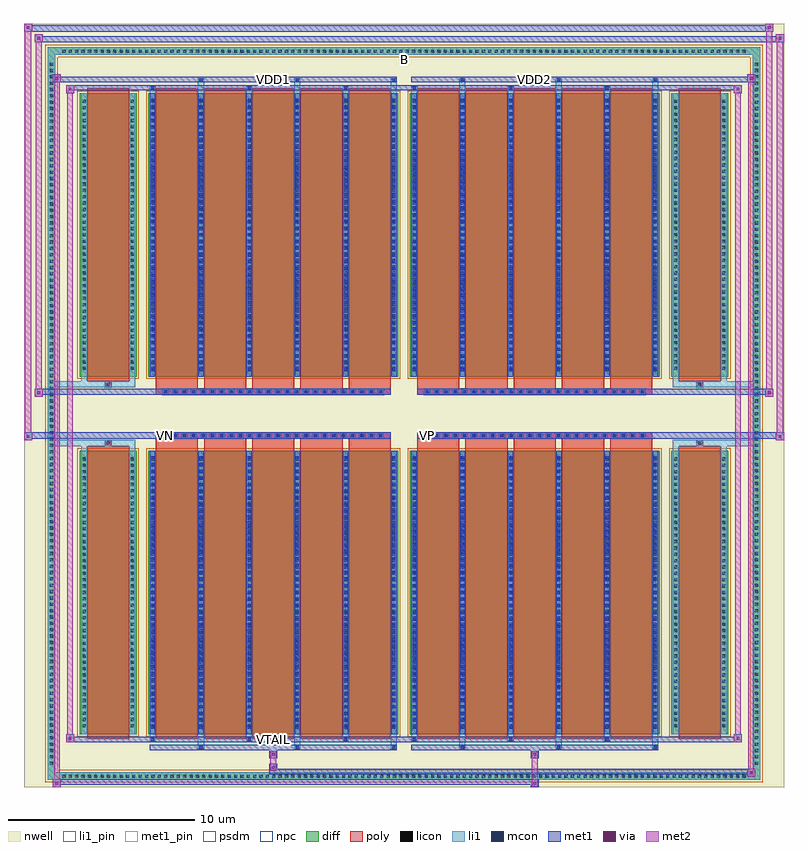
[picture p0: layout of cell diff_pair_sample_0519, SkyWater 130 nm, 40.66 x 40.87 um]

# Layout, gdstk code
import gdstk
lib = gdstk.Library(unit=1e-6, precision=5e-09)
def R(c, l, rs):  # rectangles x0, y0, x1, y1
    for r in rs: c.add(gdstk.rectangle(r[:2], r[2:], *l))
def A(c, l, x, y, w, h, nx, ny, dx, dy):  # array of equal rectangles
    R(c, l, [(x+i*dx, y+j*dy, x+i*dx+w, y+j*dy+h) for i in range(nx) for j in range(ny)])
def P(c, l, *ps):  # polygons
    for p in ps: c.add(gdstk.Polygon(p, *l))
nwell = (64, 20)
diff = (65, 20)
poly = (66, 20)
licon = (66, 44)
li1_pin = (67, 16)
li1 = (67, 20)
mcon = (67, 44)
met1_pin = (68, 16)
met1 = (68, 20)
via = (68, 44)
met2 = (69, 20)
psdm = (94, 20)
npc = (95, 20)

diff_pair_sample_0519 = lib.new_cell('diff_pair_sample_0519')
R(diff_pair_sample_0519, nwell, [(-20.33,-20,20.33,20.87), (-17.65,-18.19,-0.01,-0.805), (0.01,-18.19,17.65,-0.805), (-17.65,0.805,-0.01,18.19), (0.01,0.805,17.65,18.19)])
A(diff_pair_sample_0519, diff, -18.395, -19.6, 0.41, 0.41, 108, 2, 0.34, 38.79)
A(diff_pair_sample_0519, diff, -19.06, -18.905, 0.41, 0.41, 1, 111, 0, 0.34)
A(diff_pair_sample_0519, diff, 18.65, -18.905, 0.41, 0.41, 1, 111, 0, 0.34)
R(diff_pair_sample_0519, diff, [(-18.395,-19.6,18.395,-19.19), (-19.06,-18.905,-18.65,18.905), (18.65,-18.905,19.06,18.905), (-17.34,-17.145,-14.31,-1.985), (-13.67,-17.145,-0.32,-1.985), (0.32,-17.145,13.67,-1.985), (14.31,-17.145,17.34,-1.985), (-17.34,1.985,-14.31,17.145), (-13.67,1.985,-0.32,17.145), (0.32,1.985,13.67,17.145), (14.31,1.985,17.34,17.145), (-18.395,19.19,18.395,19.6)])
P(diff_pair_sample_0519, diff, [(19.06,19.6),(-19.06,19.6),(-19.06,-19.19),(-18.65,-19.19),(-18.65,19.19),(18.65,19.19),(18.65,-19.19),(-18.65,-19.19),(-19.06,-19.19),(-19.06,-19.6),(19.06,-19.6)])
A(diff_pair_sample_0519, poly, -13.28, -17.395, 2.25, 15.66, 5, 2, 2.58, 19.13)
A(diff_pair_sample_0519, poly, 0.71, -17.395, 2.25, 15.66, 5, 2, 2.58, 19.13)
A(diff_pair_sample_0519, poly, -13.28, -1.735, 2.25, 0.4, 5, 2, 2.58, 3.07)
A(diff_pair_sample_0519, poly, 0.71, -1.735, 2.25, 0.4, 5, 2, 2.58, 3.07)
A(diff_pair_sample_0519, poly, -12.91, -1.335, 0.33, 0.33, 24, 2, 0.5, 2.34)
A(diff_pair_sample_0519, poly, 1.08, -1.335, 0.33, 0.33, 24, 2, 0.5, 2.34)
R(diff_pair_sample_0519, poly, [(-16.95,-17.395,-14.7,-1.735), (14.7,-17.395,16.95,-1.735), (-15.99,-1.735,-15.66,-1.405), (-15.99,-1.735,-15.66,-1.405), (15.66,-1.735,15.99,-1.405), (15.66,-1.735,15.99,-1.405), (-13.28,-1.335,-0.71,-1.005), (0.71,-1.335,13.28,-1.005), (-13.28,1.005,-0.71,1.335), (0.71,1.005,13.28,1.335), (-15.99,1.405,-15.66,1.735), (-15.99,1.405,-15.66,1.735), (15.66,1.405,15.99,1.735), (15.66,1.405,15.99,1.735), (-16.95,1.735,-14.7,17.395), (14.7,1.735,16.95,17.395)])
A(diff_pair_sample_0519, licon, -18.275, -19.48, 0.17, 0.17, 108, 2, 0.34, 38.79)
A(diff_pair_sample_0519, licon, -18.94, -18.785, 0.17, 0.17, 1, 111, 0, 0.34)
A(diff_pair_sample_0519, licon, 18.77, -18.785, 0.17, 0.17, 1, 111, 0, 0.34)
A(diff_pair_sample_0519, licon, -17.2, -16.79, 0.17, 0.17, 1, 43, 0, 0.34)
A(diff_pair_sample_0519, licon, -14.62, -16.79, 0.17, 0.17, 1, 43, 0, 0.34)
A(diff_pair_sample_0519, licon, -13.53, -16.79, 0.17, 0.17, 6, 43, 2.58, 0.34)
A(diff_pair_sample_0519, licon, 0.46, -16.79, 0.17, 0.17, 6, 43, 2.58, 0.34)
A(diff_pair_sample_0519, licon, 14.45, -16.79, 0.17, 0.17, 1, 43, 0, 0.34)
A(diff_pair_sample_0519, licon, 17.03, -16.79, 0.17, 0.17, 1, 43, 0, 0.34)
A(diff_pair_sample_0519, licon, -12.83, -1.255, 0.17, 0.17, 24, 2, 0.5, 2.34)
A(diff_pair_sample_0519, licon, 1.16, -1.255, 0.17, 0.17, 24, 2, 0.5, 2.34)
A(diff_pair_sample_0519, licon, -17.2, 2.34, 0.17, 0.17, 1, 43, 0, 0.34)
A(diff_pair_sample_0519, licon, -14.62, 2.34, 0.17, 0.17, 1, 43, 0, 0.34)
A(diff_pair_sample_0519, licon, -13.53, 2.34, 0.17, 0.17, 6, 43, 2.58, 0.34)
A(diff_pair_sample_0519, licon, 0.46, 2.34, 0.17, 0.17, 6, 43, 2.58, 0.34)
A(diff_pair_sample_0519, licon, 14.45, 2.34, 0.17, 0.17, 1, 43, 0, 0.34)
A(diff_pair_sample_0519, licon, 17.03, 2.34, 0.17, 0.17, 1, 43, 0, 0.34)
R(diff_pair_sample_0519, licon, [(-15.91,-1.655,-15.74,-1.485), (15.74,-1.655,15.91,-1.485), (-15.91,1.485,-15.74,1.655), (15.74,1.485,15.91,1.655)])
R(diff_pair_sample_0519, li1_pin, [(-0.25,18.69,0.25,19.19)])
A(diff_pair_sample_0519, li1, -18.355, -19.56, 0.33, 0.33, 108, 2, 0.34, 38.79)
A(diff_pair_sample_0519, li1, -19.02, -18.865, 0.33, 0.33, 1, 111, 0, 0.34)
A(diff_pair_sample_0519, li1, 18.69, -18.865, 0.33, 0.33, 1, 111, 0, 0.34)
A(diff_pair_sample_0519, li1, -11.03, -17.95, 0.33, 0.805, 3, 2, 5.16, 35.095)
A(diff_pair_sample_0519, li1, -10.95, -17.95, 0.17, 0.17, 3, 2, 5.16, 35.73)
A(diff_pair_sample_0519, li1, 2.96, -17.95, 0.33, 0.805, 3, 2, 5.16, 35.095)
A(diff_pair_sample_0519, li1, 3.04, -17.95, 0.17, 0.17, 3, 2, 5.16, 35.73)
A(diff_pair_sample_0519, li1, -13.61, -17.52, 0.33, 0.375, 3, 2, 5.16, 34.665)
A(diff_pair_sample_0519, li1, -13.53, -17.52, 0.17, 0.17, 3, 2, 5.16, 34.87)
A(diff_pair_sample_0519, li1, 0.38, -17.52, 0.33, 0.375, 3, 2, 5.16, 34.665)
A(diff_pair_sample_0519, li1, 0.46, -17.52, 0.17, 0.17, 3, 2, 5.16, 34.87)
A(diff_pair_sample_0519, li1, -13.61, -17.145, 0.33, 15.16, 6, 2, 2.58, 19.13)
A(diff_pair_sample_0519, li1, 0.38, -17.145, 0.33, 15.16, 6, 2, 2.58, 19.13)
A(diff_pair_sample_0519, li1, -17.28, -16.87, 0.33, 0.33, 1, 43, 0, 0.34)
A(diff_pair_sample_0519, li1, -14.7, -16.87, 0.33, 0.33, 1, 43, 0, 0.34)
A(diff_pair_sample_0519, li1, -13.61, -16.87, 0.33, 0.33, 6, 43, 2.58, 0.34)
A(diff_pair_sample_0519, li1, 0.38, -16.87, 0.33, 0.33, 6, 43, 2.58, 0.34)
A(diff_pair_sample_0519, li1, 14.37, -16.87, 0.33, 0.33, 1, 43, 0, 0.34)
A(diff_pair_sample_0519, li1, 16.95, -16.87, 0.33, 0.33, 1, 43, 0, 0.34)
A(diff_pair_sample_0519, li1, -13.53, -16.85, 0.17, 0.17, 6, 41, 2.58, 0.36)
A(diff_pair_sample_0519, li1, -13.53, -16.85, 0.17, 14.57, 6, 2, 2.58, 19.13)
A(diff_pair_sample_0519, li1, 0.46, -16.85, 0.17, 0.17, 6, 41, 2.58, 0.36)
A(diff_pair_sample_0519, li1, 0.46, -16.85, 0.17, 14.57, 6, 2, 2.58, 19.13)
A(diff_pair_sample_0519, li1, -12.91, -1.335, 0.33, 0.33, 24, 2, 0.5, 2.34)
A(diff_pair_sample_0519, li1, 1.08, -1.335, 0.33, 0.33, 24, 2, 0.5, 2.34)
A(diff_pair_sample_0519, li1, -17.28, 2.26, 0.33, 0.33, 1, 43, 0, 0.34)
A(diff_pair_sample_0519, li1, -14.7, 2.26, 0.33, 0.33, 1, 43, 0, 0.34)
A(diff_pair_sample_0519, li1, -13.61, 2.26, 0.33, 0.33, 6, 43, 2.58, 0.34)
A(diff_pair_sample_0519, li1, 0.38, 2.26, 0.33, 0.33, 6, 43, 2.58, 0.34)
A(diff_pair_sample_0519, li1, 14.37, 2.26, 0.33, 0.33, 1, 43, 0, 0.34)
A(diff_pair_sample_0519, li1, 16.95, 2.26, 0.33, 0.33, 1, 43, 0, 0.34)
A(diff_pair_sample_0519, li1, -13.53, 2.28, 0.17, 0.17, 6, 41, 2.58, 0.36)
A(diff_pair_sample_0519, li1, 0.46, 2.28, 0.17, 0.17, 6, 41, 2.58, 0.36)
R(diff_pair_sample_0519, li1, [(-19.06,-19.6,-18.65,-19.19), (-19.06,-19.6,-18.65,-19.19), (-18.65,-19.6,18.65,-19.19), (18.65,-19.6,19.06,-19.19), (18.65,-19.6,19.06,-19.19), (-19.06,-19.19,-18.65,19.19), (18.65,-19.19,19.06,19.19), (-17.28,-17.145,-16.95,-1.985), (-14.7,-17.145,-14.37,-1.985), (14.37,-17.145,14.7,-1.985), (16.95,-17.145,17.28,-1.985), (-17.28,-1.985,-16.95,-1.405), (-14.7,-1.985,-14.37,-1.405), (14.37,-1.985,14.7,-1.405), (16.95,-1.985,17.28,-1.405), (-19.06,-1.735,-15.99,-1.405), (-17.28,-1.735,-15.99,-1.405), (-15.99,-1.735,-15.66,-1.405), (-15.66,-1.735,-14.37,-1.405), (14.37,-1.735,15.66,-1.405), (15.66,-1.735,15.99,-1.405), (15.66,-1.735,19.06,-1.405), (15.99,-1.735,17.28,-1.405), (-19.06,1.405,-15.99,1.735), (-17.28,1.405,-15.99,1.735), (-17.28,1.405,-16.95,1.985), (-15.99,1.405,-15.66,1.735), (-15.66,1.405,-14.37,1.735), (-14.7,1.405,-14.37,1.985), (14.37,1.405,15.66,1.735), (14.37,1.405,14.7,1.985), (15.66,1.405,15.99,1.735), (15.66,1.405,19.06,1.735), (15.99,1.405,17.28,1.735), (16.95,1.405,17.28,1.985), (-17.28,1.985,-16.95,17.145), (-14.7,1.985,-14.37,17.145), (14.37,1.985,14.7,17.145), (16.95,1.985,17.28,17.145), (-19.06,19.19,-18.65,19.6), (-19.06,19.19,-18.65,19.6), (-18.65,19.19,18.65,19.6), (18.65,19.19,19.06,19.6), (18.65,19.19,19.06,19.6)])
A(diff_pair_sample_0519, mcon, -10.95, -17.95, 0.17, 0.17, 3, 2, 5.16, 35.73)
A(diff_pair_sample_0519, mcon, 3.04, -17.95, 0.17, 0.17, 3, 2, 5.16, 35.73)
A(diff_pair_sample_0519, mcon, -13.53, -17.52, 0.17, 0.17, 3, 2, 5.16, 34.87)
A(diff_pair_sample_0519, mcon, 0.46, -17.52, 0.17, 0.17, 3, 2, 5.16, 34.87)
A(diff_pair_sample_0519, mcon, -13.53, -16.85, 0.17, 0.17, 6, 41, 2.58, 0.36)
A(diff_pair_sample_0519, mcon, 0.46, -16.85, 0.17, 0.17, 6, 41, 2.58, 0.36)
A(diff_pair_sample_0519, mcon, -12.83, -1.255, 0.17, 0.17, 24, 2, 0.5, 2.34)
A(diff_pair_sample_0519, mcon, 1.16, -1.255, 0.17, 0.17, 24, 2, 0.5, 2.34)
A(diff_pair_sample_0519, mcon, -13.53, 2.28, 0.17, 0.17, 6, 41, 2.58, 0.36)
A(diff_pair_sample_0519, mcon, 0.46, 2.28, 0.17, 0.17, 6, 41, 2.58, 0.36)
R(diff_pair_sample_0519, met1_pin, [(-7.13,-17.56,-6.86,-17.29), (-12.88,-1.295,-12.61,-1.025), (1.11,-1.295,1.38,-1.025), (-7.13,17.74,-6.86,18.01), (6.86,17.74,7.13,18.01)])
A(diff_pair_sample_0519, met1, -11.01, -18.01, 0.29, 0.29, 3, 2, 5.16, 35.73)
A(diff_pair_sample_0519, met1, 2.98, -18.01, 0.29, 0.29, 3, 2, 5.16, 35.73)
A(diff_pair_sample_0519, met1, -13.59, -17.58, 0.29, 0.29, 3, 2, 5.16, 34.87)
A(diff_pair_sample_0519, met1, 0.4, -17.58, 0.29, 0.29, 3, 2, 5.16, 34.87)
A(diff_pair_sample_0519, met1, -13.59, -17.145, 0.29, 15.16, 6, 2, 2.58, 19.13)
A(diff_pair_sample_0519, met1, 0.4, -17.145, 0.29, 15.16, 6, 2, 2.58, 19.13)
A(diff_pair_sample_0519, met1, -13.59, -16.91, 0.29, 0.29, 6, 41, 2.58, 0.36)
A(diff_pair_sample_0519, met1, 0.4, -16.91, 0.29, 0.29, 6, 41, 2.58, 0.36)
A(diff_pair_sample_0519, met1, -12.89, -1.315, 0.29, 0.29, 24, 2, 0.5, 2.34)
A(diff_pair_sample_0519, met1, 1.1, -1.315, 0.29, 0.29, 24, 2, 0.5, 2.34)
A(diff_pair_sample_0519, met1, -13.59, 2.22, 0.29, 0.29, 6, 41, 2.58, 0.36)
A(diff_pair_sample_0519, met1, 0.4, 2.22, 0.29, 0.29, 6, 41, 2.58, 0.36)
R(diff_pair_sample_0519, met1, [(-18.79,-20,-18.36,-19.57), (6.78,-20,7.21,-19.57), (-18.79,-19.86,7.21,-19.57), (18.36,-19.43,18.79,-19), (-7.21,-19.29,18.79,-19), (-7.21,-19.15,-6.78,-18.72), (-7.21,-18.44,-6.78,-18.01), (6.78,-18.44,7.21,-18.01), (-13.59,-18.01,-0.4,-17.72), (0.4,-18.01,13.59,-17.72), (-18.08,-17.58,-17.65,-17.15), (-18.08,-17.58,-13.59,-17.29), (-13.59,-17.58,-0.4,-17.29), (-0.4,-17.58,0.4,-17.29), (0.4,-17.58,13.59,-17.29), (13.59,-17.58,18.08,-17.29), (17.65,-17.58,18.08,-17.15), (-20.33,-1.435,-19.9,-1.005), (19.9,-1.435,20.33,-1.005), (-20.33,-1.335,-0.71,-1.005), (-13.28,-1.335,-0.71,-1.005), (0.71,-1.335,13.28,-1.005), (0.71,-1.335,20.33,-1.005), (-19.76,0.905,-19.33,1.335), (19.33,0.905,19.76,1.335), (-19.76,1.005,-13.28,1.335), (-13.28,1.005,-0.71,1.335), (0.71,1.005,13.28,1.335), (13.28,1.005,19.76,1.335), (-18.08,17.15,-17.65,17.58), (17.65,17.15,18.08,17.58), (-18.08,17.29,-13.59,17.58), (-13.59,17.29,-0.4,17.58), (-0.4,17.29,0.4,17.58), (0.4,17.29,13.59,17.58), (13.59,17.29,18.08,17.58), (-18.79,17.72,-18.36,18.15), (-18.79,17.72,-13.59,18.01), (-13.59,17.72,-0.4,18.01), (0.4,17.72,13.59,18.01), (13.59,17.72,18.79,18.01), (18.36,17.72,18.79,18.15), (-19.76,19.87,-19.33,20.3), (-19.76,19.87,-17.65,20.2), (-17.65,19.87,17.65,20.2), (17.65,19.87,20.33,20.2), (19.9,19.87,20.33,20.3), (-20.33,20.44,-19.9,20.87), (-20.33,20.44,-17.65,20.77), (-17.65,20.44,17.65,20.77), (17.65,20.44,19.76,20.77), (19.33,20.44,19.76,20.87)])
R(diff_pair_sample_0519, via, [(-18.65,-19.86,-18.5,-19.71), (6.92,-19.86,7.07,-19.71), (18.5,-19.29,18.65,-19.14), (-7.07,-19.01,-6.92,-18.86), (-7.07,-18.3,-6.92,-18.15), (6.92,-18.3,7.07,-18.15), (-17.94,-17.44,-17.79,-17.29), (17.79,-17.44,17.94,-17.29), (-20.19,-1.295,-20.04,-1.145), (20.04,-1.295,20.19,-1.145), (-19.62,1.045,-19.47,1.195), (19.47,1.045,19.62,1.195), (-17.94,17.29,-17.79,17.44), (17.79,17.29,17.94,17.44), (-18.65,17.86,-18.5,18.01), (18.5,17.86,18.65,18.01), (-19.62,20.01,-19.47,20.16), (20.04,20.01,20.19,20.16), (-20.19,20.58,-20.04,20.73), (19.47,20.58,19.62,20.73)])
R(diff_pair_sample_0519, met2, [(-18.79,-20,-18.36,-19.57), (-18.72,-20,-18.43,18.15), (-18.43,-20,-18.36,-19.57), (-18.74,-19.95,-18.41,-19.62), (6.83,-19.95,7.16,-19.62), (6.83,-19.62,7.16,-18.39), (18.36,-19.43,18.79,-19), (18.43,-19.43,18.72,18.15), (18.72,-19.43,18.79,-19), (18.41,-19.38,18.74,-19.05), (-7.16,-19.1,-6.83,-18.77), (-7.16,-18.77,-6.83,-18.39), (-7.16,-18.39,-6.83,-18.06), (6.83,-18.39,7.16,-18.06), (-18.08,-17.58,-17.65,-17.15), (-18.01,-17.58,-17.72,17.58), (-17.72,-17.58,-17.65,-17.15), (17.65,-17.58,18.08,-17.15), (17.72,-17.58,18.01,17.58), (18.01,-17.58,18.08,-17.15), (-18.03,-17.53,-17.7,-17.2), (17.7,-17.53,18.03,-17.2), (-20.33,-1.435,-19.9,-1.005), (-20.28,-1.435,-19.95,20.87), (-19.95,-1.435,-19.9,-1.005), (19.9,-1.435,20.33,-1.005), (19.95,-1.435,20.28,20.3), (20.28,-1.435,20.33,-1.005), (-20.28,-1.385,-19.95,-1.055), (19.95,-1.385,20.28,-1.055), (-19.76,0.905,-19.33,1.335), (-19.71,0.905,-19.38,20.3), (-19.38,0.905,-19.33,1.335), (19.33,0.905,19.76,1.335), (19.38,0.905,19.71,20.87), (19.71,0.905,19.76,1.335), (-19.71,0.955,-19.38,1.285), (19.38,0.955,19.71,1.285), (-18.08,17.15,-17.65,17.58), (-17.72,17.15,-17.65,17.58), (17.65,17.15,18.08,17.58), (18.01,17.15,18.08,17.58), (-18.03,17.2,-17.7,17.53), (17.7,17.2,18.03,17.53), (-18.79,17.72,-18.36,18.15), (-18.43,17.72,-18.36,18.15), (18.36,17.72,18.79,18.15), (18.72,17.72,18.79,18.15), (-18.74,17.77,-18.41,18.1), (18.41,17.77,18.74,18.1), (-19.76,19.87,-19.33,20.3), (-19.38,19.87,-19.33,20.3), (19.9,19.87,20.33,20.3), (20.28,19.87,20.33,20.3), (-19.71,19.92,-19.38,20.25), (19.95,19.92,20.28,20.25), (-20.33,20.44,-19.9,20.87), (-19.95,20.44,-19.9,20.87), (19.33,20.44,19.76,20.87), (19.71,20.44,19.76,20.87), (-20.28,20.49,-19.95,20.82), (19.38,20.49,19.71,20.82)])
R(diff_pair_sample_0519, psdm, [(-17.47,-17.275,-14.18,-1.855), (-13.8,-17.275,-0.19,-1.855), (0.19,-17.275,13.8,-1.855), (14.18,-17.275,17.47,-1.855), (-17.47,1.855,-14.18,17.275), (-13.8,1.855,-0.19,17.275), (0.19,1.855,13.8,17.275), (14.18,1.855,17.47,17.275)])
P(diff_pair_sample_0519, psdm, [(19.19,19.73),(-19.19,19.73),(-19.19,-19.06),(-18.52,-19.06),(-18.52,19.06),(18.52,19.06),(18.52,-19.06),(-18.52,-19.06),(-19.19,-19.06),(-19.19,-19.73),(19.19,-19.73)])
A(diff_pair_sample_0519, npc, -12.93, -1.355, 0.37, 0.37, 24, 2, 0.5, 2.34)
A(diff_pair_sample_0519, npc, 1.06, -1.355, 0.37, 0.37, 24, 2, 0.5, 2.34)
R(diff_pair_sample_0519, npc, [(-16.01,-1.755,-15.64,-1.385), (15.64,-1.755,16.01,-1.385), (-12.93,-1.355,-12.06,-0.985), (-12.93,-1.355,-12.06,-0.985), (-12.43,-1.355,-11.56,-0.985), (-12.43,-1.355,-11.56,-0.985), (-11.93,-1.355,-11.06,-0.985), (-11.93,-1.355,-11.06,-0.985), (-11.43,-1.355,-10.56,-0.985), (-11.43,-1.355,-10.56,-0.985), (-10.93,-1.355,-10.06,-0.985), (-10.93,-1.355,-10.06,-0.985), (-10.43,-1.355,-9.56,-0.985), (-10.43,-1.355,-9.56,-0.985), (-9.93,-1.355,-9.06,-0.985), (-9.93,-1.355,-9.06,-0.985), (-9.43,-1.355,-8.56,-0.985), (-9.43,-1.355,-8.56,-0.985), (-8.93,-1.355,-8.06,-0.985), (-8.93,-1.355,-8.06,-0.985), (-8.43,-1.355,-7.56,-0.985), (-8.43,-1.355,-7.56,-0.985), (-7.93,-1.355,-7.06,-0.985), (-7.93,-1.355,-7.06,-0.985), (-7.43,-1.355,-6.56,-0.985), (-7.43,-1.355,-6.56,-0.985), (-6.93,-1.355,-6.06,-0.985), (-6.93,-1.355,-6.06,-0.985), (-6.43,-1.355,-5.56,-0.985), (-6.43,-1.355,-5.56,-0.985), (-5.93,-1.355,-5.06,-0.985), (-5.93,-1.355,-5.06,-0.985), (-5.43,-1.355,-4.56,-0.985), (-5.43,-1.355,-4.56,-0.985), (-4.93,-1.355,-4.06,-0.985), (-4.93,-1.355,-4.06,-0.985), (-4.43,-1.355,-3.56,-0.985), (-4.43,-1.355,-3.56,-0.985), (-3.93,-1.355,-3.06,-0.985), (-3.93,-1.355,-3.06,-0.985), (-3.43,-1.355,-2.56,-0.985), (-3.43,-1.355,-2.56,-0.985), (-2.93,-1.355,-2.06,-0.985), (-2.93,-1.355,-2.06,-0.985), (-2.43,-1.355,-1.56,-0.985), (-2.43,-1.355,-1.56,-0.985), (-1.93,-1.355,-1.06,-0.985), (-1.93,-1.355,-1.06,-0.985), (1.06,-1.355,1.93,-0.985), (1.06,-1.355,1.93,-0.985), (1.56,-1.355,2.43,-0.985), (1.56,-1.355,2.43,-0.985), (2.06,-1.355,2.93,-0.985), (2.06,-1.355,2.93,-0.985), (2.56,-1.355,3.43,-0.985), (2.56,-1.355,3.43,-0.985), (3.06,-1.355,3.93,-0.985), (3.06,-1.355,3.93,-0.985), (3.56,-1.355,4.43,-0.985), (3.56,-1.355,4.43,-0.985), (4.06,-1.355,4.93,-0.985), (4.06,-1.355,4.93,-0.985), (4.56,-1.355,5.43,-0.985), (4.56,-1.355,5.43,-0.985), (5.06,-1.355,5.93,-0.985), (5.06,-1.355,5.93,-0.985), (5.56,-1.355,6.43,-0.985), (5.56,-1.355,6.43,-0.985), (6.06,-1.355,6.93,-0.985), (6.06,-1.355,6.93,-0.985), (6.56,-1.355,7.43,-0.985), (6.56,-1.355,7.43,-0.985), (7.06,-1.355,7.93,-0.985), (7.06,-1.355,7.93,-0.985), (7.56,-1.355,8.43,-0.985), (7.56,-1.355,8.43,-0.985), (8.06,-1.355,8.93,-0.985), (8.06,-1.355,8.93,-0.985), (8.56,-1.355,9.43,-0.985), (8.56,-1.355,9.43,-0.985), (9.06,-1.355,9.93,-0.985), (9.06,-1.355,9.93,-0.985), (9.56,-1.355,10.43,-0.985), (9.56,-1.355,10.43,-0.985), (10.06,-1.355,10.93,-0.985), (10.06,-1.355,10.93,-0.985), (10.56,-1.355,11.43,-0.985), (10.56,-1.355,11.43,-0.985), (11.06,-1.355,11.93,-0.985), (11.06,-1.355,11.93,-0.985), (11.56,-1.355,12.43,-0.985), (11.56,-1.355,12.43,-0.985), (12.06,-1.355,12.93,-0.985), (12.06,-1.355,12.93,-0.985), (-12.93,0.985,-12.06,1.355), (-12.93,0.985,-12.06,1.355), (-12.43,0.985,-11.56,1.355), (-12.43,0.985,-11.56,1.355), (-11.93,0.985,-11.06,1.355), (-11.93,0.985,-11.06,1.355), (-11.43,0.985,-10.56,1.355), (-11.43,0.985,-10.56,1.355), (-10.93,0.985,-10.06,1.355), (-10.93,0.985,-10.06,1.355), (-10.43,0.985,-9.56,1.355), (-10.43,0.985,-9.56,1.355), (-9.93,0.985,-9.06,1.355), (-9.93,0.985,-9.06,1.355), (-9.43,0.985,-8.56,1.355), (-9.43,0.985,-8.56,1.355), (-8.93,0.985,-8.06,1.355), (-8.93,0.985,-8.06,1.355), (-8.43,0.985,-7.56,1.355), (-8.43,0.985,-7.56,1.355), (-7.93,0.985,-7.06,1.355), (-7.93,0.985,-7.06,1.355), (-7.43,0.985,-6.56,1.355), (-7.43,0.985,-6.56,1.355), (-6.93,0.985,-6.06,1.355), (-6.93,0.985,-6.06,1.355), (-6.43,0.985,-5.56,1.355), (-6.43,0.985,-5.56,1.355), (-5.93,0.985,-5.06,1.355), (-5.93,0.985,-5.06,1.355), (-5.43,0.985,-4.56,1.355), (-5.43,0.985,-4.56,1.355), (-4.93,0.985,-4.06,1.355), (-4.93,0.985,-4.06,1.355), (-4.43,0.985,-3.56,1.355), (-4.43,0.985,-3.56,1.355), (-3.93,0.985,-3.06,1.355), (-3.93,0.985,-3.06,1.355), (-3.43,0.985,-2.56,1.355), (-3.43,0.985,-2.56,1.355), (-2.93,0.985,-2.06,1.355), (-2.93,0.985,-2.06,1.355), (-2.43,0.985,-1.56,1.355), (-2.43,0.985,-1.56,1.355), (-1.93,0.985,-1.06,1.355), (-1.93,0.985,-1.06,1.355), (1.06,0.985,1.93,1.355), (1.06,0.985,1.93,1.355), (1.56,0.985,2.43,1.355), (1.56,0.985,2.43,1.355), (2.06,0.985,2.93,1.355), (2.06,0.985,2.93,1.355), (2.56,0.985,3.43,1.355), (2.56,0.985,3.43,1.355), (3.06,0.985,3.93,1.355), (3.06,0.985,3.93,1.355), (3.56,0.985,4.43,1.355), (3.56,0.985,4.43,1.355), (4.06,0.985,4.93,1.355), (4.06,0.985,4.93,1.355), (4.56,0.985,5.43,1.355), (4.56,0.985,5.43,1.355), (5.06,0.985,5.93,1.355), (5.06,0.985,5.93,1.355), (5.56,0.985,6.43,1.355), (5.56,0.985,6.43,1.355), (6.06,0.985,6.93,1.355), (6.06,0.985,6.93,1.355), (6.56,0.985,7.43,1.355), (6.56,0.985,7.43,1.355), (7.06,0.985,7.93,1.355), (7.06,0.985,7.93,1.355), (7.56,0.985,8.43,1.355), (7.56,0.985,8.43,1.355), (8.06,0.985,8.93,1.355), (8.06,0.985,8.93,1.355), (8.56,0.985,9.43,1.355), (8.56,0.985,9.43,1.355), (9.06,0.985,9.93,1.355), (9.06,0.985,9.93,1.355), (9.56,0.985,10.43,1.355), (9.56,0.985,10.43,1.355), (10.06,0.985,10.93,1.355), (10.06,0.985,10.93,1.355), (10.56,0.985,11.43,1.355), (10.56,0.985,11.43,1.355), (11.06,0.985,11.93,1.355), (11.06,0.985,11.93,1.355), (11.56,0.985,12.43,1.355), (11.56,0.985,12.43,1.355), (12.06,0.985,12.93,1.355), (12.06,0.985,12.93,1.355), (-16.01,1.385,-15.64,1.755), (15.64,1.385,16.01,1.755)])
diff_pair_sample_0519.add(gdstk.Label('VTAIL', (-6.995,-17.425), layer=68, texttype=5))
diff_pair_sample_0519.add(gdstk.Label('VN', (-12.745,-1.16), layer=68, texttype=5))
diff_pair_sample_0519.add(gdstk.Label('VP', (1.245,-1.16), layer=68, texttype=5))
diff_pair_sample_0519.add(gdstk.Label('B', (0,18.94), layer=67, texttype=5))
diff_pair_sample_0519.add(gdstk.Label('VDD2', (6.995,17.875), layer=68, texttype=5))
diff_pair_sample_0519.add(gdstk.Label('VDD1', (-6.995,17.875), layer=68, texttype=5))

lib.write_gds('diff_pair_sample_0519.gds')
